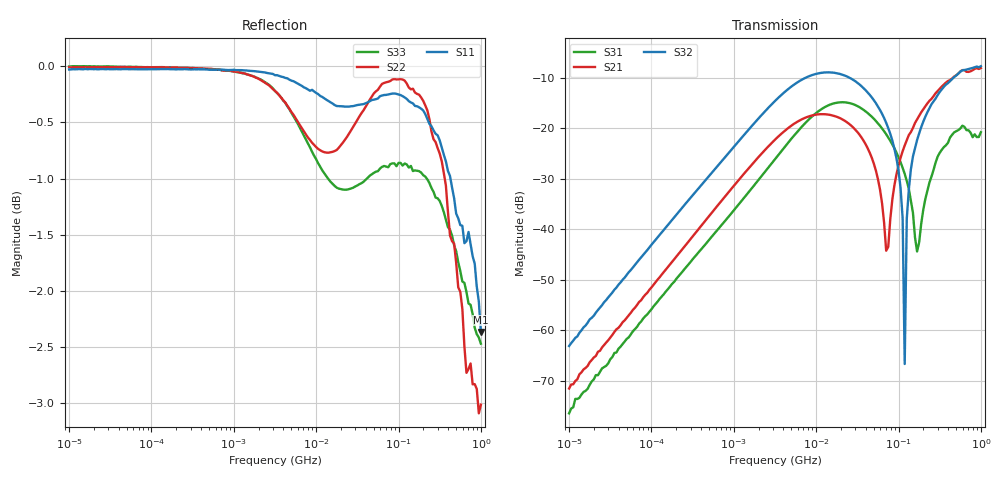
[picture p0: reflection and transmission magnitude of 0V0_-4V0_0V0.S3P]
!Keysight Technologies,E5080A,MY55100144,A.11.70.03
!Date: Monday, November 13, 2017 17:22:50
!Correction: S11(Full 3 Port(1,2,3))
!S12(Full 3 Port(1,2,3))
!S13(Full 3 Port(1,2,3))
!S21(Full 3 Port(1,2,3))
!S22(Full 3 Port(1,2,3))
!S23(Full 3 Port(1,2,3))
!S31(Full 3 Port(1,2,3))
!S32(Full 3 Port(1,2,3))
!S33(Full 3 Port(1,2,3))
!S3P File: Measurements: <S11,S12,S13>,
!<S21,S22,S23>,
!<S31,S32,S33>:Log Frequency Sweep
# Hz S  RI  R 50
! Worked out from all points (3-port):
!   201 points, 10 kHz to 1 GHz, reference 50 ohm
!   strongest paths, dB at 10 kHz, 177.8 kHz, 3.162 MHz, 56.23 MHz, 1 GHz:
!     S32: -63.1, -38.1, -14.6, -15.6, -7.7
!     S21: -71.5, -46.4, -22.2, -30.0, -8.0
!     S31: -76.4, -50.8, -26.1, -19.0, -20.7
!   lowest |S11| = -2.4 dB at 1 GHz (marker M1), VSWR 7.39, Z = 369 + j11.4 ohm
!   |S11| at or under -10 dB: nowhere
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10000  0.9967 -0.00139  -8.29e-06 0.000255  -2.8e-05 0.00015
       1.64e-05 0.000266  0.9989 -0.00371  1.1e-06 0.000705
       9.83e-06 0.000151  -2.5e-05 0.000701  0.9998 -0.00243
3162278  0.8911 -0.4333  0.0421 0.0651  0.0116 0.0483
         0.042 0.0651  0.6628 -0.7151  0.0996 0.1584
         0.0116 0.0482  0.0998 0.1583  0.935 -0.2761
1.412538e7  -0.0307 -0.9645  0.1365 -0.0119  0.1579 0.0623
            0.1365 -0.012  -0.5354 -0.7423  0.3594 -0.0125
            0.158 0.0621  0.3594 -0.0125  0.4523 -0.7673
6.309573e7  -0.9388 -0.2459  0.00973 -0.0153  0.0443 -0.0897
            0.0097 -0.0153  -0.9821 0.00909  0.0434 -0.1329
            0.0442 -0.0898  0.0431 -0.1328  -0.7207 -0.5425
1.059254e8  -0.9693 0.0554  0.0107 0.0501  0.00372 -0.0461
            0.0108 0.0502  -0.9361 0.3129  -0.00127 -0.0255
            0.00371 -0.0461  -0.00125 -0.0255  -0.8868 -0.184
1.188502e8  -0.9605 0.1244  0.0184 0.0653  0.000891 -0.0355
            0.0185 0.0653  -0.9065 0.3864  0.000466 -4.68e-06
            0.000948 -0.0355  0.000465 6.55e-06  -0.8993 -0.1026
1.258925e8  -0.9538 0.1598  0.0234 0.0728  6.03e-05 -0.0303
            0.0235 0.0729  -0.8865 0.4236  0.00323 0.0123
            7.14e-05 -0.0303  0.00322 0.0123  -0.9023 -0.0602
1.678804e8  -0.899 0.3365  0.0596 0.1075  0.00458 -0.00404
            0.0597 0.1075  -0.7622 0.6034  0.0341 0.0686
            0.00455 -0.00399  0.0341 0.0686  -0.8867 0.1447
5.308844e8  0.00588 0.8557  0.3252 -0.1266  0.0709 -0.0652
            0.3252 -0.1268  0.5017 0.6196  0.3335 -0.1003
            0.0708 -0.0651  0.3338 -0.1  -0.1354 0.8067
1e9  0.7615 0.00649  -0.0932 -0.3857  -0.0564 -0.0728
     -0.0937 -0.3857  0.5904 -0.3886  -0.045 -0.4114
     -0.0569 -0.0721  -0.0445 -0.4115  0.6856 0.3102
